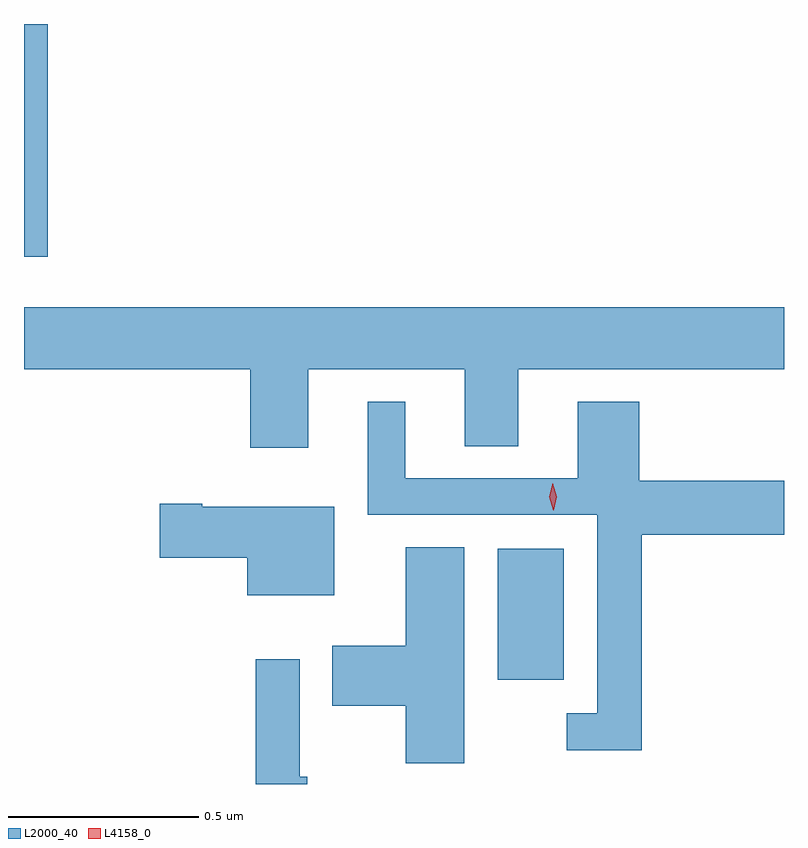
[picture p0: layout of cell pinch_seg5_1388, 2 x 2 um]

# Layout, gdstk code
import gdstk
lib = gdstk.Library(unit=1e-6, precision=1e-09)
def R(c, l, rs):  # rectangles x0, y0, x1, y1
    for r in rs: c.add(gdstk.rectangle(r[:2], r[2:], *l))
def P(c, l, *ps):  # polygons
    for p in ps: c.add(gdstk.Polygon(p, *l))
L2000_40 = (2000, 40)
L4158_0 = (4158, 0)

pinch_seg5_1388 = lib.new_cell('pinch_seg5_1388')
R(pinch_seg5_1388, L2000_40, [(275.462,898.568,275.635,898.912), (274.215,899.681,274.277,900.293)])
P(pinch_seg5_1388, L2000_40, [(274.963,899.384),(275.375,899.384),(275.375,899.182),(275.515,899.182),(275.515,899.384),(276.215,899.384),(276.215,899.548),(274.215,899.548),(274.215,899.384),(274.811,899.384),(274.811,899.178),(274.963,899.178)],
  [(275.84,898.949),(276.215,898.949),(276.215,899.091),(275.834,899.091),(275.834,899.299),(275.672,899.299),(275.672,899.097),(275.218,899.097),(275.218,899.299),(275.12,899.299),(275.12,899.001),(275.724,899.001),(275.724,898.479),(275.643,898.479),(275.643,898.382),(275.84,898.382)],
  [(275.032,899.023),(274.684,899.023),(274.684,899.031),(274.572,899.031),(274.572,898.889),(274.802,898.889),(274.802,898.79),(275.032,898.79)],
  [(275.374,898.916),(275.219,898.916),(275.219,898.657),(275.026,898.657),(275.026,898.499),(275.219,898.499),(275.219,898.347),(275.374,898.347)],
  [(274.961,898.312),(274.941,898.312),(274.941,898.621),(274.825,898.621),(274.825,898.293),(274.961,898.293)])
P(pinch_seg5_1388, L4158_0, [(275.608,899.013),(275.597,899.049),(275.606,899.085),(275.606,899.085),(275.606,899.085),(275.617,899.049),(275.609,899.013),(275.609,899.013)])

lib.write_gds('pinch_seg5_1388.gds')
